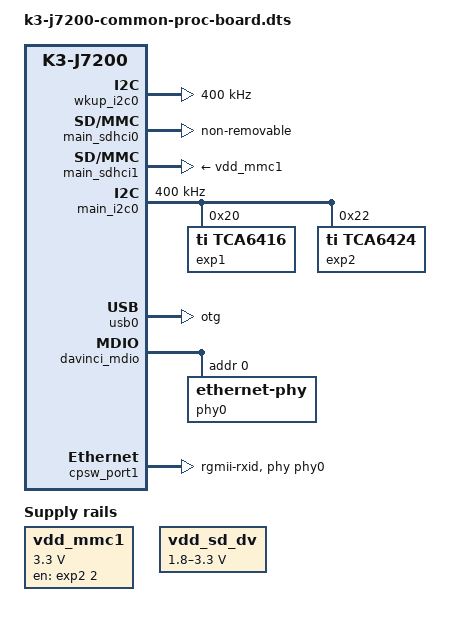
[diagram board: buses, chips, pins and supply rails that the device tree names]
// SPDX-License-Identifier: GPL-2.0
/*
 * Copyright (C) 2020 Texas Instruments Incorporated - https://www.ti.com/
 */

/dts-v1/;

#include <dt-bindings/net/ti-dp83867.h>
#include "k3-j7200-som-p0.dtsi"
#include <dt-bindings/gpio/gpio.h>

/ {
	chosen {
		stdout-path = "serial2:115200n8";
		bootargs = "console=ttyS2,115200n8 earlycon=ns16550a,mmio32,0x02800000";
	};

	aliases {
		remoteproc0 = &mcu_r5fss0_core0;
		remoteproc1 = &mcu_r5fss0_core1;
		remoteproc2 = &main_r5fss0_core0;
		remoteproc3 = &main_r5fss0_core1;
	};

	vdd_mmc1: fixedregulator-sd {
		compatible = "regulator-fixed";
		regulator-name = "vdd_mmc1";
		regulator-min-microvolt = <3300000>;
		regulator-max-microvolt = <3300000>;
		regulator-boot-on;
		enable-active-high;
		gpio = <&exp2 2 GPIO_ACTIVE_HIGH>;
	};

	vdd_sd_dv: gpio-regulator-vdd-sd-dv {
		compatible = "regulator-gpio";
		regulator-name = "vdd_sd_dv";
		pinctrl-names = "default";
		pinctrl-0 = <&vdd_sd_dv_pins_default>;
		regulator-min-microvolt = <1800000>;
		regulator-max-microvolt = <3300000>;
		regulator-boot-on;
		gpios = <&main_gpio0 55 GPIO_ACTIVE_HIGH>;
		states = <1800000 0x0
			  3300000 0x1>;
	};
};

&wkup_pmx0 {
	wkup_i2c0_pins_default: wkup-i2c0-pins-default {
		pinctrl-single,pins = <
			J721E_WKUP_IOPAD(0x100, PIN_INPUT_PULLUP, 0) /* (F20) WKUP_I2C0_SCL */
			J721E_WKUP_IOPAD(0x104, PIN_INPUT_PULLUP, 0) /* (H21) WKUP_I2C0_SDA */
		>;
	};

	wkup_gpio_pins_default: wkup-gpio-pins-default {
		pinctrl-single,pins = <
			J721E_WKUP_IOPAD(0xd8, PIN_INPUT, 7) /* (C14) WKUP_GPIO0_6 */
		>;
	};

	mcu_cpsw_pins_default: mcu_cpsw_pins_default {
		pinctrl-single,pins = <
			J721E_WKUP_IOPAD(0x0068, PIN_OUTPUT, 0) /* MCU_RGMII1_TX_CTL */
			J721E_WKUP_IOPAD(0x006c, PIN_INPUT, 0) /* MCU_RGMII1_RX_CTL */
			J721E_WKUP_IOPAD(0x0070, PIN_OUTPUT, 0) /* MCU_RGMII1_TD3 */
			J721E_WKUP_IOPAD(0x0074, PIN_OUTPUT, 0) /* MCU_RGMII1_TD2 */
			J721E_WKUP_IOPAD(0x0078, PIN_OUTPUT, 0) /* MCU_RGMII1_TD1 */
			J721E_WKUP_IOPAD(0x007c, PIN_OUTPUT, 0) /* MCU_RGMII1_TD0 */
			J721E_WKUP_IOPAD(0x0088, PIN_INPUT, 0) /* MCU_RGMII1_RD3 */
			J721E_WKUP_IOPAD(0x008c, PIN_INPUT, 0) /* MCU_RGMII1_RD2 */
			J721E_WKUP_IOPAD(0x0090, PIN_INPUT, 0) /* MCU_RGMII1_RD1 */
			J721E_WKUP_IOPAD(0x0094, PIN_INPUT, 0) /* MCU_RGMII1_RD0 */
			J721E_WKUP_IOPAD(0x0080, PIN_INPUT, 0) /* MCU_RGMII1_TXC */
			J721E_WKUP_IOPAD(0x0084, PIN_INPUT, 0) /* MCU_RGMII1_RXC */
		>;
	};

	mcu_mdio_pins_default: mcu_mdio1_pins_default {
		pinctrl-single,pins = <
			J721E_WKUP_IOPAD(0x009c, PIN_OUTPUT, 0) /* (L1) MCU_MDIO0_MDC */
			J721E_WKUP_IOPAD(0x0098, PIN_INPUT, 0) /* (L4) MCU_MDIO0_MDIO */
		>;
	};
};

&main_pmx0 {
	main_i2c0_pins_default: main-i2c0-pins-default {
		pinctrl-single,pins = <
			J721E_IOPAD(0xd4, PIN_INPUT_PULLUP, 0) /* (V3) I2C0_SCL */
			J721E_IOPAD(0xd8, PIN_INPUT_PULLUP, 0) /* (W2) I2C0_SDA */
		>;
	};

	main_mmc1_pins_default: main_mmc1_pins_default {
		pinctrl-single,pins = <
			J721E_IOPAD(0x104, PIN_INPUT, 0) /* (M20) MMC1_CMD */
			J721E_IOPAD(0x100, PIN_INPUT, 0) /* (P21) MMC1_CLK */
			J721E_IOPAD(0xfc, PIN_INPUT, 0) /* (P25) MMC1_CLKLB */
			J721E_IOPAD(0xf8, PIN_INPUT, 0) /* (M19) MMC1_DAT0 */
			J721E_IOPAD(0xf4, PIN_INPUT, 0) /* (N21) MMC1_DAT1 */
			J721E_IOPAD(0xf0, PIN_INPUT, 0) /* (N20) MMC1_DAT2 */
			J721E_IOPAD(0xec, PIN_INPUT, 0) /* (N19) MMC1_DAT3 */
			J721E_IOPAD(0xe4, PIN_INPUT, 8) /* (V1) TIMER_IO0.MMC1_SDCD */
		>;
	};

	vdd_sd_dv_pins_default: vdd_sd_dv_pins_default {
		pinctrl-single,pins = <
			J721E_IOPAD(0xd0, PIN_OUTPUT, 7) /* (T5) SPI0_D1.GPIO0_55 */
		>;
	};

	main_usbss0_pins_default: main_usbss0_pins_default {
		pinctrl-single,pins = <
			J721E_IOPAD(0x120, PIN_OUTPUT, 0) /* (T4) USB0_DRVVBUS */
		>;
	};
};

&wkup_uart0 {
	/* Wakeup UART is used by System firmware */
	status = "disabled";
};

&main_uart0 {
	power-domains = <&k3_pds 146 TI_SCI_PD_SHARED>;
};

&main_uart2 {
	/* MAIN UART 2 is used by R5F firmware */
	status = "disabled";
};

&main_uart3 {
	/* UART not brought out */
	status = "disabled";
};

&main_uart4 {
	/* UART not brought out */
	status = "disabled";
};

&main_uart5 {
	/* UART not brought out */
	status = "disabled";
};

&main_uart6 {
	/* UART not brought out */
	status = "disabled";
};

&main_uart7 {
	/* UART not brought out */
	status = "disabled";
};

&main_uart8 {
	/* UART not brought out */
	status = "disabled";
};

&main_uart9 {
	/* UART not brought out */
	status = "disabled";
};

&wkup_i2c0 {
	pinctrl-names = "default";
	pinctrl-0 = <&wkup_i2c0_pins_default>;
	clock-frequency = <400000>;
};

&main_sdhci0 {
	/* eMMC */
	non-removable;
	ti,driver-strength-ohm = <50>;
	disable-wp;
};

&main_sdhci1 {
	/* SD card */
	pinctrl-0 = <&main_mmc1_pins_default>;
	pinctrl-names = "default";
	vmmc-supply = <&vdd_mmc1>;
	vqmmc-supply = <&vdd_sd_dv>;
	ti,driver-strength-ohm = <50>;
	disable-wp;
};

&main_i2c0 {
	pinctrl-names = "default";
	pinctrl-0 = <&main_i2c0_pins_default>;
	clock-frequency = <400000>;

	exp1: gpio@20 {
		compatible = "ti,tca6416";
		reg = <0x20>;
		gpio-controller;
		#gpio-cells = <2>;
	};

	exp2: gpio@22 {
		compatible = "ti,tca6424";
		reg = <0x22>;
		gpio-controller;
		#gpio-cells = <2>;
	};
};

&usbss0 {
	pinctrl-names = "default";
	pinctrl-0 = <&main_usbss0_pins_default>;
	ti,vbus-divider;
	ti,usb2-only;
};

&usb0 {
	dr_mode = "otg";
	maximum-speed = "high-speed";
};

&wkup_gpio0 {
	pinctrl-names = "default";
	pinctrl-0 = <&wkup_gpio_pins_default>;
};

&mcu_cpsw {
	pinctrl-names = "default";
	pinctrl-0 = <&mcu_cpsw_pins_default &mcu_mdio_pins_default>;
};

&davinci_mdio {
	phy0: ethernet-phy@0 {
		reg = <0>;
		ti,rx-internal-delay = <DP83867_RGMIIDCTL_2_00_NS>;
		ti,fifo-depth = <DP83867_PHYCR_FIFO_DEPTH_4_B_NIB>;
	};
};

&cpsw_port1 {
	phy-mode = "rgmii-rxid";
	phy-handle = <&phy0>;
};
